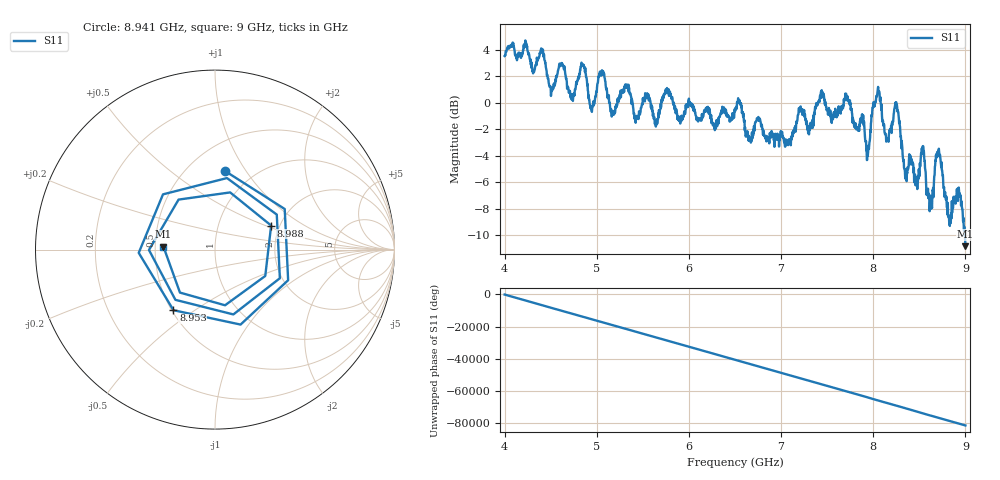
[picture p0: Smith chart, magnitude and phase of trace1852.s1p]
! Created with skrf 1.8.0 (http://scikit-rf.org).
# Hz S RI R 50.0
!freq ReS11 ImS11
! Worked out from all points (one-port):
!   1601 points, 4 GHz to 9 GHz, reference 50 ohm
!   lowest |S11| = -10.8 dB at 9 GHz (marker M1), VSWR 1.81, Z = 27.7 + j0.956 ohm
!   |S11| at or under -10 dB: 8.991041 GHz to end of sweep
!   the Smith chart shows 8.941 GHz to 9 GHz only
!   S11 on the Smith chart (normalised r, x): 8.941 GHz: 0.74, +0.81; 8.953 GHz: 0.51, -0.41; 8.988 GHz: 1.80, +0.55; 9 GHz: 0.55, +0.02
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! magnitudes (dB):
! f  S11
! 4 GHz  3.5
! 4.403 GHz  3.8
! 4.506 GHz  0.7
! 4.625 GHz  3.0
! 4.734 GHz  0.3
! 4.844 GHz  2.8
! 4.941 GHz  -0.4
! 5.053 GHz  2.4
! 5.172 GHz  -0.9
! 5.25 GHz  0.6
! 5.875 GHz  -1.2
! 6.5 GHz  -0.7
! 7.125 GHz  -2.5
! 7.441 GHz  0.9
! 7.75 GHz  -0.1
! 7.938 GHz  -3.7
! 8.044 GHz  0.7
! 8.147 GHz  -2.9
! 8.25 GHz  0.0
! 8.375 GHz  -4.9
! 8.541 GHz  -3.3
! 8.622 GHz  -7.6
! 8.706 GHz  -3.9
! 8.825 GHz  -9.2
! 8.941 GHz  -7.1
! 8.953 GHz  -7.8
! 8.988 GHz  -9.4
! 9 GHz  -10.8
